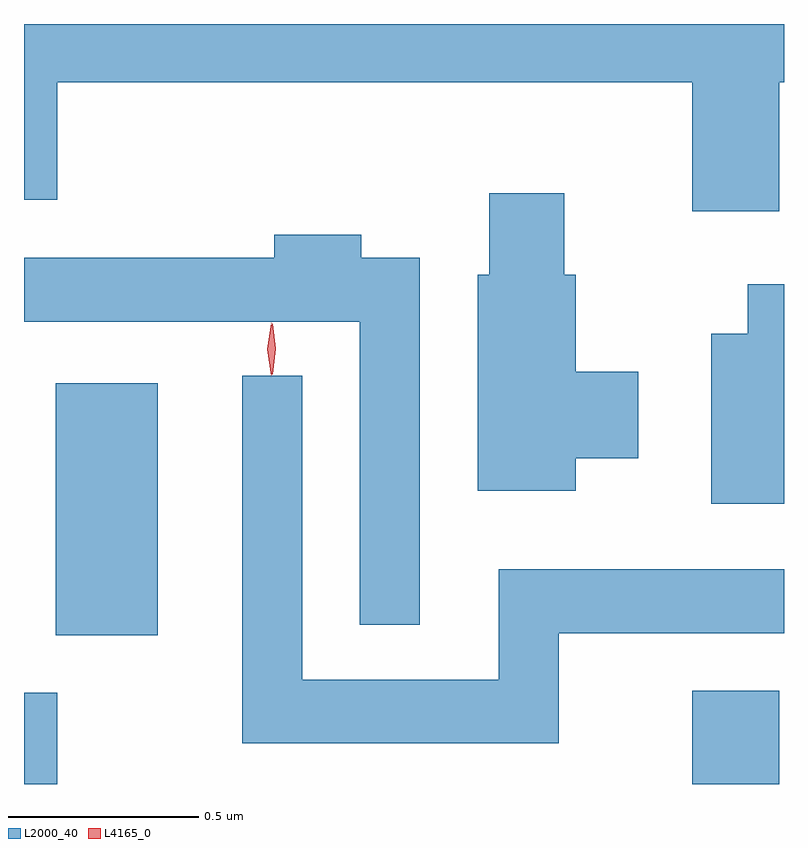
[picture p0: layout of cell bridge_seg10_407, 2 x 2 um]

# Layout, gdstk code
import gdstk
lib = gdstk.Library(unit=1e-6, precision=1e-09)
def R(c, l, rs):  # rectangles x0, y0, x1, y1
    for r in rs: c.add(gdstk.rectangle(r[:2], r[2:], *l))
def P(c, l, *ps):  # polygons
    for p in ps: c.add(gdstk.Polygon(p, *l))
L2000_40 = (2000, 40)
L4165_0 = (4165, 0)

bridge_seg10_407 = lib.new_cell('bridge_seg10_407')
R(bridge_seg10_407, L2000_40, [(1421.012,2118.729,1421.099,2118.969), (1422.771,2118.729,1422.999,2118.974), (1421.096,2119.121,1421.364,2119.784)])
P(bridge_seg10_407, L2000_40, [(1422.999,2120.576),(1423.012,2120.576),(1423.012,2120.729),(1421.012,2120.729),(1421.012,2120.266),(1421.099,2120.266),(1421.099,2120.576),(1422.771,2120.576),(1422.771,2120.236),(1422.999,2120.236)],
  [(1422.464,2119.586),(1422.629,2119.586),(1422.629,2119.814),(1422.464,2119.814),(1422.464,2120.069),(1422.434,2120.069),(1422.434,2120.284),(1422.236,2120.284),(1422.236,2120.069),(1422.206,2120.069),(1422.206,2119.501),(1422.464,2119.501)],
  [(1422.054,2120.114),(1421.899,2120.114),(1421.899,2120.174),(1421.671,2120.174),(1421.671,2120.114),(1421.012,2120.114),(1421.012,2119.946),(1421.896,2119.946),(1421.896,2119.148),(1422.054,2119.148)],
  [(1423.012,2120.044),(1422.916,2120.044),(1422.916,2119.914),(1422.821,2119.914),(1422.821,2119.466),(1423.012,2119.466)],
  [(1422.419,2119.126),(1423.012,2119.126),(1423.012,2119.294),(1422.261,2119.294),(1422.261,2119.004),(1421.744,2119.004),(1421.744,2119.803),(1421.586,2119.803),(1421.586,2118.836),(1422.419,2118.836)])
P(bridge_seg10_407, L4165_0, [(1421.662,2119.803),(1421.662,2119.804),(1421.652,2119.873),(1421.662,2119.942),(1421.662,2119.943),(1421.663,2119.942),(1421.672,2119.873),(1421.663,2119.804)],
  [(1421.664,2119.807),(1421.655,2119.874),(1421.665,2119.94),(1421.665,2119.94),(1421.666,2119.94),(1421.675,2119.874),(1421.666,2119.807),(1421.665,2119.807)])

lib.write_gds('bridge_seg10_407.gds')
